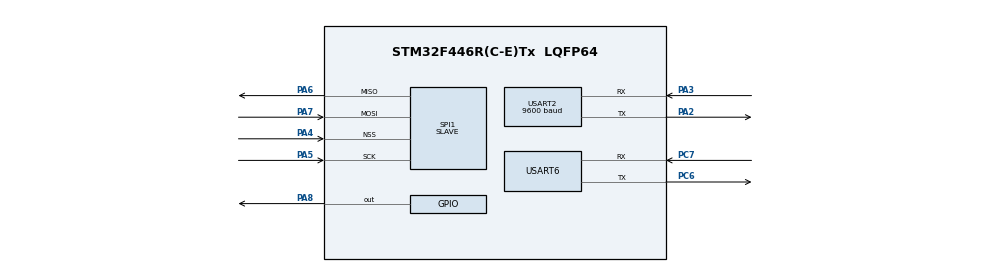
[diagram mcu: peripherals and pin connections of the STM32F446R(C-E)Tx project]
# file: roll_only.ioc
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Mcu.Family=STM32F4
Mcu.Name=STM32F446R(C-E)Tx
Mcu.Package=LQFP64
NVIC.PriorityGroup=NVIC_PRIORITYGROUP_4
PA13.Mode=Serial_Wire
PA13.Signal=SYS_JTMS-SWDIO
PA14.Mode=Serial_Wire
PA14.Signal=SYS_JTCK-SWCLK
PA2.Mode=Asynchronous
PA2.Signal=USART2_TX
PA3.Mode=Asynchronous
PA3.Signal=USART2_RX
PA4.Mode=NSS_Signal_Hard_Input
PA4.Signal=SPI1_NSS
PA5.Mode=Full_Duplex_Slave
PA5.Signal=SPI1_SCK
PA6.Mode=Full_Duplex_Slave
PA6.Signal=SPI1_MISO
PA7.Mode=Full_Duplex_Slave
PA7.Signal=SPI1_MOSI
PA8.Signal=GPIO_Output
PC6.Mode=Asynchronous
PC6.Signal=USART6_TX
PC7.Mode=Asynchronous
PC7.Signal=USART6_RX
ProjectManager.HeapSize=0x200
ProjectManager.StackSize=0x400
ProjectManager.TargetToolchain=STM32CubeIDE
RCC.CortexFreq_Value=16000000
RCC.USBFreq_Value=96000000
RCC.VCOOutputFreq_Value=192000000
SPI1.Direction=SPI_DIRECTION_2LINES
SPI1.Mode=SPI_MODE_SLAVE
SPI1.VirtualNSS=VM_NSSHARD
SPI1.VirtualType=VM_SLAVE
USART2.BaudRate=9600
USART2.VirtualMode=VM_ASYNC
USART6.VirtualMode=VM_ASYNC
board=custom

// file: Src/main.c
/* USER CODE BEGIN Header */
/**
  ******************************************************************************
  * @file           : main.c
  * @brief          : Main program body
  ******************************************************************************
  * @attention
  *
  * <h2><center>&copy; Copyright (c) 2020 STMicroelectronics.
  * All rights reserved.</center></h2>
  *
  * This software component is licensed by ST under BSD 3-Clause license,
  * the "License"; You may not use this file except in compliance with the
  * License. You may obtain a copy of the License at:
  *                        opensource.org/licenses/BSD-3-Clause
  *
  ******************************************************************************
  */
/* USER CODE END Header */

#include "main.h"

SPI_HandleTypeDef hspi1;

UART_HandleTypeDef huart2;
UART_HandleTypeDef huart6;

void SystemClock_Config(void);
static void MX_GPIO_Init(void);
static void MX_USART2_UART_Init(void);
static void MX_USART6_UART_Init(void);
static void MX_SPI1_Init(void);

int main(void)
{

  /* MCU Configuration--------------------------------------------------------*/

  /* Reset of all peripherals, Initializes the Flash interface and the Systick. */
  HAL_Init();

  /* Configure the system clock */
  SystemClock_Config();

  /* Initialize all configured peripherals */
  MX_GPIO_Init();
  MX_USART2_UART_Init();
  MX_USART6_UART_Init();
  MX_SPI1_Init();
  /* USER CODE BEGIN 2 */
  char rxbuf[]="waiting\r\n";
  uint8_t txdata[20] = {0};
  unsigned char rxdata[9] = {0};
  uint8_t aRxBuffer[10]={0};
  char PC_txdata[256]={'なんでもいいからおくって\0'};
  short pos_data;
  int count=0;

  	  void speed(unsigned char id,short speed)
      {
          unsigned char speed_l = (unsigned char)(speed)&0x00FF;
          unsigned char speed_h = (unsigned char)(speed>>8)&0x00FF;
          unsigned char sum = (0x09+0x04+0x00+id+speed_l+speed_h+0x30+0x01)&0x00FF;

          HAL_GPIO_WritePin(GPIOA, GPIO_PIN_8, 1);

          txdata[0]=0x09;//SIZE
          txdata[1]=0x04;//COMMAND
          txdata[2]=0x00;//OPTION
          txdata[3]=id;//ID
          txdata[4]=speed_l;//SPEED_LOWBYTE
          txdata[5]=speed_h;//SPEED_HIGHBYTE
          txdata[6]=0x30;//ADRESS(SPEED 0x03)
          txdata[7]=0x01;//COUNT
          txdata[8]=sum;//SUM
          HAL_UART_Transmit(&huart6, txdata, 9, 0xFFFF);
          HAL_GPIO_WritePin(GPIOA, GPIO_PIN_8, 0);
          HAL_Delay(1);
      }

      void write(unsigned char id,unsigned char data,unsigned char adress)
      {
          unsigned char sum = (0x08+0x04+0x00+id+data+adress+0x01)&0x00FF;
         HAL_GPIO_WritePin(GPIOA, GPIO_PIN_8, 1);
         txdata[0]=0x08;   //1 SIZE
         txdata[1]=0x04;   //2 COMMAND
         txdata[2]=0x00;   //3 OPTION
         txdata[3]=id;     //4 ID
         txdata[4]=data;  //DATA
         txdata[5]=adress;  //ADRESS
         txdata[6]=0x01; //COUNT
         txdata[7]=sum;    //9 SUM
         HAL_UART_Transmit(&huart6, txdata, 8, 0xFFFF);

         HAL_GPIO_WritePin(GPIOA, GPIO_PIN_8, 0);
         HAL_Delay(1);

      }

	  write(0xFF,0x02,0x28);
  /* USER CODE END 2 */

  /* Infinite loop */
  while (1)
  {

    /* USER CODE BEGIN 3 */
	  count++;
	  rxdata[0]=0;
	  while(1){
		  HAL_UART_Transmit(&huart2, (uint8_t*)rxbuf,sizeof(rxbuf),0xFFFF);
		 // HAL_UART_Receive(&huart2,rxdata,10,0x100);
		  HAL_SPI_TransmitReceive(&hspi1,(uint8_t*)PC_txdata,(uint8_t*)rxdata,1,0xF);

		  if(rxdata[0]!=0){
			  break;
		  }
	  }
	  rxdata[0]=0;

	  write(0xFF,0x00,0x28);
	  write(0xFF,0x01,0x29);
	  HAL_Delay(1000);
	  rxdata[0]=0;
	  while(1){
		  HAL_UART_Transmit(&huart2, (uint8_t*)rxbuf,sizeof(rxbuf),0xFFFF);
		 // HAL_UART_Receive(&huart2,rxdata,10,0x100);
		  HAL_SPI_TransmitReceive(&hspi1,(uint8_t*)PC_txdata,(uint8_t*)rxdata,1,0xF);
		  if(rxdata[0]!=0){
			  break;
		  }
	  }
	  rxdata[0]=0;

//roll movement
	  write(0x02,0x04,0x28);
	  write(0x08,0x04,0x28);
	  HAL_Delay(1000);
	  speed(8,5000);
	  HAL_Delay(1);
	  speed(2,-5000);
	  HAL_Delay(1000);

  }
  /* USER CODE END 3 */
}

void SystemClock_Config(void)
{
  RCC_OscInitTypeDef RCC_OscInitStruct = {0};
  RCC_ClkInitTypeDef RCC_ClkInitStruct = {0};

  /** Configure the main internal regulator output voltage
  */
  __HAL_RCC_PWR_CLK_ENABLE();
  __HAL_PWR_VOLTAGESCALING_CONFIG(PWR_REGULATOR_VOLTAGE_SCALE3);
  /** Initializes the CPU, AHB and APB busses clocks
  */
  RCC_OscInitStruct.OscillatorType = RCC_OSCILLATORTYPE_HSI;
  RCC_OscInitStruct.HSIState = RCC_HSI_ON;
  RCC_OscInitStruct.HSICalibrationValue = RCC_HSICALIBRATION_DEFAULT;
  RCC_OscInitStruct.PLL.PLLState = RCC_PLL_NONE;
  if (HAL_RCC_OscConfig(&RCC_OscInitStruct) != HAL_OK)
  {
    Error_Handler();
  }
  /** Initializes the CPU, AHB and APB busses clocks
  */
  RCC_ClkInitStruct.ClockType = RCC_CLOCKTYPE_HCLK|RCC_CLOCKTYPE_SYSCLK
                              |RCC_CLOCKTYPE_PCLK1|RCC_CLOCKTYPE_PCLK2;
  RCC_ClkInitStruct.SYSCLKSource = RCC_SYSCLKSOURCE_HSI;
  RCC_ClkInitStruct.AHBCLKDivider = RCC_SYSCLK_DIV1;
  RCC_ClkInitStruct.APB1CLKDivider = RCC_HCLK_DIV1;
  RCC_ClkInitStruct.APB2CLKDivider = RCC_HCLK_DIV1;

  if (HAL_RCC_ClockConfig(&RCC_ClkInitStruct, FLASH_LATENCY_0) != HAL_OK)
  {
    Error_Handler();
  }
}

static void MX_SPI1_Init(void)
{

  /* SPI1 parameter configuration*/
  hspi1.Instance = SPI1;
  hspi1.Init.Mode = SPI_MODE_SLAVE;
  hspi1.Init.Direction = SPI_DIRECTION_2LINES;
  hspi1.Init.DataSize = SPI_DATASIZE_8BIT;
  hspi1.Init.CLKPolarity = SPI_POLARITY_LOW;
  hspi1.Init.CLKPhase = SPI_PHASE_1EDGE;
  hspi1.Init.NSS = SPI_NSS_HARD_INPUT;
  hspi1.Init.FirstBit = SPI_FIRSTBIT_MSB;
  hspi1.Init.TIMode = SPI_TIMODE_DISABLE;
  hspi1.Init.CRCCalculation = SPI_CRCCALCULATION_DISABLE;
  hspi1.Init.CRCPolynomial = 10;
  if (HAL_SPI_Init(&hspi1) != HAL_OK)
  {
    Error_Handler();
  }

}

static void MX_USART2_UART_Init(void)
{

  huart2.Instance = USART2;
  huart2.Init.BaudRate = 9600;
  huart2.Init.WordLength = UART_WORDLENGTH_8B;
  huart2.Init.StopBits = UART_STOPBITS_1;
  huart2.Init.Parity = UART_PARITY_NONE;
  huart2.Init.Mode = UART_MODE_TX_RX;
  huart2.Init.HwFlowCtl = UART_HWCONTROL_NONE;
  huart2.Init.OverSampling = UART_OVERSAMPLING_16;
  if (HAL_UART_Init(&huart2) != HAL_OK)
  {
    Error_Handler();
  }

}

static void MX_USART6_UART_Init(void)
{

  huart6.Instance = USART6;
  huart6.Init.BaudRate = 115200;
  huart6.Init.WordLength = UART_WORDLENGTH_8B;
  huart6.Init.StopBits = UART_STOPBITS_1;
  huart6.Init.Parity = UART_PARITY_NONE;
  huart6.Init.Mode = UART_MODE_TX_RX;
  huart6.Init.HwFlowCtl = UART_HWCONTROL_NONE;
  huart6.Init.OverSampling = UART_OVERSAMPLING_16;
  if (HAL_UART_Init(&huart6) != HAL_OK)
  {
    Error_Handler();
  }

}

static void MX_GPIO_Init(void)
{
  GPIO_InitTypeDef GPIO_InitStruct = {0};

  /* GPIO Ports Clock Enable */
  __HAL_RCC_GPIOA_CLK_ENABLE();
  __HAL_RCC_GPIOC_CLK_ENABLE();

  /*Configure GPIO pin Output Level */
  HAL_GPIO_WritePin(GPIOA, GPIO_PIN_8, GPIO_PIN_RESET);

  /*Configure GPIO pin : PA8 */
  GPIO_InitStruct.Pin = GPIO_PIN_8;
  GPIO_InitStruct.Mode = GPIO_MODE_OUTPUT_PP;
  GPIO_InitStruct.Pull = GPIO_NOPULL;
  GPIO_InitStruct.Speed = GPIO_SPEED_FREQ_LOW;
  HAL_GPIO_Init(GPIOA, &GPIO_InitStruct);

}

void Error_Handler(void)
{
}

/************************ (C) COPYRIGHT STMicroelectronics *****END OF FILE****/
